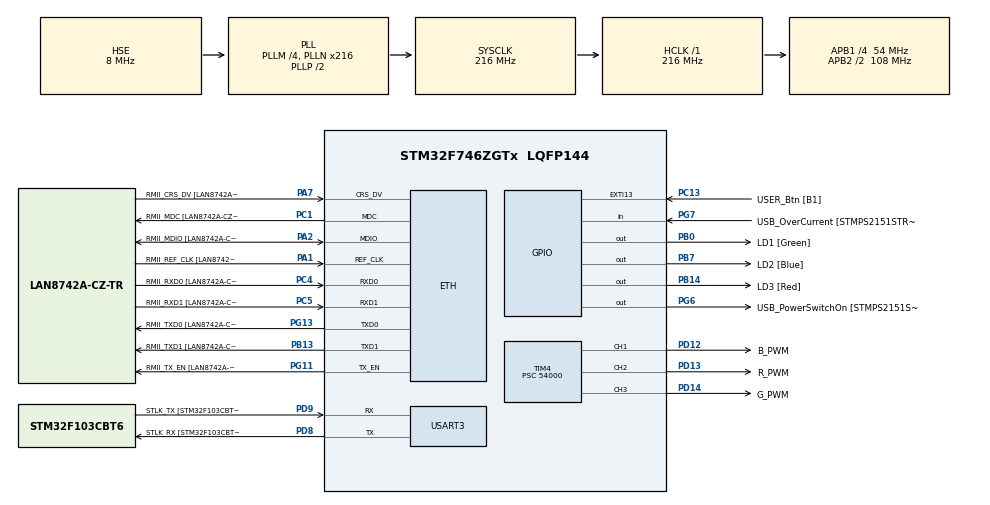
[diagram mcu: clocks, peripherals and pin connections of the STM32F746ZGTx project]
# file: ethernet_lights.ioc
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ETH.MediaInterface=ETH_MEDIA_INTERFACE_RMII
ETH.PHY_Name=LAN8742A_PHY_ADDRESS
ETH.PHY_Value=0
ETH.PhyAddress=0
LWIP.GATEWAY_ADDRESS=192.168.001.001
LWIP.IP_ADDRESS=192.168.001.200
LWIP.LWIP_DHCP=0
LWIP.NETMASK_ADDRESS=255.255.255.000
LWIP.Version=v2.0.3_Cube
Mcu.Family=STM32F7
Mcu.Name=STM32F746ZGTx
Mcu.Package=LQFP144
NVIC.ETH_IRQn=true\:0\:0\:false\:false\:true\:true\:true
NVIC.PriorityGroup=NVIC_PRIORITYGROUP_4
NVIC.TIM3_IRQn=true\:0\:0\:false\:false\:true\:true\:true
NVIC.TIM4_IRQn=true\:0\:0\:false\:false\:true\:true\:true
PA1.GPIO_Label=RMII_REF_CLK [LAN8742A-CZ-TR_REFCLK0]
PA1.Mode=RMII
PA1.Signal=ETH_REF_CLK
PA10.GPIO_Label=USB_ID
PA10.Signal=USB_OTG_FS_ID
PA11.GPIO_Label=USB_DM
PA11.Signal=USB_OTG_FS_DM
PA12.GPIO_Label=USB_DP
PA12.Signal=USB_OTG_FS_DP
PA13.GPIO_Label=TMS
PA13.Mode=Serial_Wire
PA13.Signal=SYS_JTMS-SWDIO
PA14.GPIO_Label=TCK
PA14.Mode=Serial_Wire
PA14.Signal=SYS_JTCK-SWCLK
PA2.GPIO_Label=RMII_MDIO [LAN8742A-CZ-TR_MDIO]
PA2.Mode=RMII
PA2.Signal=ETH_MDIO
PA7.GPIO_Label=RMII_CRS_DV [LAN8742A-CZ-TR_CRS_DV]
PA7.Mode=RMII
PA7.Signal=ETH_CRS_DV
PA8.GPIO_Label=USB_SOF [TP1]
PA8.Signal=USB_OTG_FS_SOF
PA9.GPIO_Label=USB_VBUS
PA9.Signal=USB_OTG_FS_VBUS
PB0.GPIO_Label=LD1 [Green]
PB0.Signal=GPIO_Output
PB13.GPIO_Label=RMII_TXD1 [LAN8742A-CZ-TR_TXD1]
PB13.Mode=RMII
PB13.Signal=ETH_TXD1
PB14.GPIO_Label=LD3 [Red]
PB14.Signal=GPIO_Output
PB3.GPIO_Label=SW0
PB3.Signal=SYS_JTDO-SWO
PB7.GPIO_Label=LD2 [Blue]
PB7.Signal=GPIO_Output
PC1.GPIO_Label=RMII_MDC [LAN8742A-CZ-TR_MDC]
PC1.Mode=RMII
PC1.Signal=ETH_MDC
PC13.GPIO_Label=USER_Btn [B1]
PC13.Signal=GPXTI13
PC14/OSC32_IN.Mode=LSE-External-Oscillator
PC14/OSC32_IN.Signal=RCC_OSC32_IN
PC15/OSC32_OUT.Mode=LSE-External-Oscillator
PC15/OSC32_OUT.Signal=RCC_OSC32_OUT
PC4.GPIO_Label=RMII_RXD0 [LAN8742A-CZ-TR_RXD0]
PC4.Mode=RMII
PC4.Signal=ETH_RXD0
PC5.GPIO_Label=RMII_RXD1 [LAN8742A-CZ-TR_RXD1]
PC5.Mode=RMII
PC5.Signal=ETH_RXD1
PD12.GPIO_Label=B_PWM
PD12.Signal=S_TIM4_CH1
PD13.GPIO_Label=R_PWM
PD13.Signal=S_TIM4_CH2
PD14.GPIO_Label=G_PWM
PD14.Signal=S_TIM4_CH3
PD8.GPIO_Label=STLK_RX [STM32F103CBT6_PA3]
PD8.Mode=Asynchronous
PD8.Signal=USART3_TX
PD9.GPIO_Label=STLK_TX [STM32F103CBT6_PA2]
PD9.Mode=Asynchronous
PD9.Signal=USART3_RX
PG11.GPIO_Label=RMII_TX_EN [LAN8742A-CZ-TR_TXEN]
PG11.Mode=RMII
PG11.Signal=ETH_TX_EN
PG13.GPIO_Label=RMII_TXD0 [LAN8742A-CZ-TR_TXD0]
PG13.Mode=RMII
PG13.Signal=ETH_TXD0
PG6.GPIO_Label=USB_PowerSwitchOn [STMPS2151STR_EN]
PG6.Signal=GPIO_Output
PG7.GPIO_Label=USB_OverCurrent [STMPS2151STR_FAULT]
PG7.Signal=GPIO_Input
PH0/OSC_IN.GPIO_Label=MCO [STM32F103CBT6_PA8]
PH0/OSC_IN.Mode=HSE-External-Clock-Source
PH0/OSC_IN.Signal=RCC_OSC_IN
PH1/OSC_OUT.Mode=HSE-External-Clock-Source
PH1/OSC_OUT.Signal=RCC_OSC_OUT
ProjectManager.HeapSize=0x200
ProjectManager.StackSize=0x400
ProjectManager.TargetToolchain=SW4STM32
RCC.48MHZClocksFreq_Value=24000000
RCC.AHBFreq_Value=216000000
RCC.APB1CLKDivider=RCC_HCLK_DIV4
RCC.APB1Freq_Value=54000000
RCC.APB1TimFreq_Value=108000000
RCC.APB2CLKDivider=RCC_HCLK_DIV2
RCC.APB2Freq_Value=108000000
RCC.APB2TimFreq_Value=216000000
RCC.CortexFreq_Value=216000000
RCC.HCLKFreq_Value=216000000
RCC.HSE_VALUE=8000000
RCC.HSI_VALUE=16000000
RCC.PLLM=4
RCC.PLLMUL=RCC_PLL_MUL9
RCC.PLLN=216
RCC.PLLQ=9
RCC.PLLSourceVirtual=RCC_PLLSOURCE_HSE
RCC.PRESCALERUSB=RCC_USBCLKSOURCE_PLL_DIV1_5
RCC.SYSCLKFreq_VALUE=216000000
RCC.SYSCLKSource=RCC_SYSCLKSOURCE_PLLCLK
RCC.SYSCLKSourceVirtual=RCC_SYSCLKSOURCE_PLLCLK
RCC.USBFreq_Value=48000000
RCC.VCOOutputFreq_Value=432000000
SH.S_TIM4_CH1.0=TIM4_CH1,PWM Generation1 CH1
SH.S_TIM4_CH2.0=TIM4_CH2,PWM Generation2 CH2
SH.S_TIM4_CH3.0=TIM4_CH3,PWM Generation3 CH3
TIM3.AutoReloadPreload=TIM_AUTORELOAD_PRELOAD_ENABLE
TIM3.ClockDivision=TIM_CLOCKDIVISION_DIV4
TIM3.Period=1
TIM3.Prescaler=54000
TIM4.AutoReloadPreload=TIM_AUTORELOAD_PRELOAD_ENABLE
TIM4.Channel-PWM\ Generation1\ CH1=TIM_CHANNEL_1
TIM4.Channel-PWM\ Generation2\ CH2=TIM_CHANNEL_2
TIM4.Channel-PWM\ Generation3\ CH3=TIM_CHANNEL_3
TIM4.ClockDivision=TIM_CLOCKDIVISION_DIV4
TIM4.Prescaler=54000
USART3.VirtualMode-Asynchronous=VM_ASYNC
VP_LWIP_VS_Enabled.Mode=Enabled
VP_TIM3_VS_ClockSourceINT.Mode=Internal
VP_TIM4_VS_ClockSourceINT.Mode=Internal
board=NUCLEO-F746ZG

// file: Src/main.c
/* USER CODE BEGIN Header */
/**
  ******************************************************************************
  * @file           : main.c
  * @brief          : Main program body
  ******************************************************************************
  * @attention
  *
  * <h2><center>&copy; Copyright (c) 2020 STMicroelectronics.
  * All rights reserved.</center></h2>
  *
  * This software component is licensed by ST under Ultimate Liberty license
  * SLA0044, the "License"; You may not use this file except in compliance with
  * the License. You may obtain a copy of the License at:
  *                             www.st.com/SLA0044
  *
  ******************************************************************************
  */
/* USER CODE END Header */

#include "main.h"
#include "lwip.h"

#include "udp_scratch.h"
#include "ethernetif.h"
#include "vban.h"

#include "arm_math.h"
#include "arm_const_structs.h"

/* USER CODE BEGIN PD */
int mscount = 0;
/* USER CODE END PD */

TIM_HandleTypeDef htim3;
TIM_HandleTypeDef htim4;

UART_HandleTypeDef huart3;

/* USER CODE BEGIN PV */
struct netif gnetif;
uint16_t * rxData;
//float32_t fft_dataset[FFT_Length_Tab*2];
//float32_t fft_mag_data[FFT_Length_Tab];
int compute_done = 1;
int watchdog = 1;
/* USER CODE END PV */

void SystemClock_Config(void);
static void MX_GPIO_Init(void);
static void MX_TIM3_Init(void);
static void MX_USART3_UART_Init(void);
static void MX_TIM4_Init(void);

/* USER CODE BEGIN 0 */
float32_t fft_dataset[FFT_Length_Tab*2];
/* USER CODE END 0 */

/**
  * @brief  The application entry point.
  * @retval int
  **/

int main(void)
{

  /* MCU Configuration--------------------------------------------------------*/

  /* Reset of all peripherals, Initializes the Flash interface and the Systick. */
  HAL_Init();

  /* Configure the system clock */
  SystemClock_Config();

  /* Initialize all configured peripherals */
  MX_GPIO_Init();
  MX_TIM3_Init();
  MX_USART3_UART_Init();
  MX_LWIP_Init();
  MX_TIM4_Init();

  /* USER CODE BEGIN 2 */
  err_t errout = ethernetif_init(&gnetif);
  //HAL_GPIO_WritePin(GPIOB,LD1_Pin,errout != ERR_OK);
//
//  HAL_Delay(500);
  HAL_TIM_Base_Start(&htim4);

  udp_scratch_connect();
  udp_receive_init();
  HAL_TIM_PWM_Start_IT(&htim4, TIM_CHANNEL_1);
  HAL_TIM_PWM_Start_IT(&htim4, TIM_CHANNEL_2);
  HAL_TIM_PWM_Start_IT(&htim4, TIM_CHANNEL_3);
  HAL_TIM_Base_Start_IT(&htim3);

  if (netif_is_up(&gnetif)) {
      //HAL_GPIO_WritePin(GPIOB, LD2_Pin, 1);
  }
  /* USER CODE END 2 */

  /* Infinite loop */
  while (1)
  {
//	  HAL_Delay(500);
//	  float32_t bull_var = -5.2;
	  //char * test_string = {"Fake_STRING"};

//	  gcvt(bull_var, 1,test_string);
	  //udp_char_send(test_string, 15);

  }
}

void SystemClock_Config(void)
{
  RCC_OscInitTypeDef RCC_OscInitStruct = {0};
  RCC_ClkInitTypeDef RCC_ClkInitStruct = {0};
  RCC_PeriphCLKInitTypeDef PeriphClkInitStruct = {0};

  /** Configure LSE Drive Capability
  */
  HAL_PWR_EnableBkUpAccess();
  /** Configure the main internal regulator output voltage
  */
  __HAL_RCC_PWR_CLK_ENABLE();
  __HAL_PWR_VOLTAGESCALING_CONFIG(PWR_REGULATOR_VOLTAGE_SCALE1);
  /** Initializes the CPU, AHB and APB busses clocks
  */
  RCC_OscInitStruct.OscillatorType = RCC_OSCILLATORTYPE_HSE;
  RCC_OscInitStruct.HSEState = RCC_HSE_BYPASS;
  RCC_OscInitStruct.PLL.PLLState = RCC_PLL_ON;
  RCC_OscInitStruct.PLL.PLLSource = RCC_PLLSOURCE_HSE;
  RCC_OscInitStruct.PLL.PLLM = 4;
  RCC_OscInitStruct.PLL.PLLN = 216;
  RCC_OscInitStruct.PLL.PLLP = RCC_PLLP_DIV2;
  RCC_OscInitStruct.PLL.PLLQ = 9;
  if (HAL_RCC_OscConfig(&RCC_OscInitStruct) != HAL_OK)
  {
    Error_Handler();
  }
  /** Activate the Over-Drive mode
  */
  if (HAL_PWREx_EnableOverDrive() != HAL_OK)
  {
    Error_Handler();
  }
  /** Initializes the CPU, AHB and APB busses clocks
  */
  RCC_ClkInitStruct.ClockType = RCC_CLOCKTYPE_HCLK|RCC_CLOCKTYPE_SYSCLK
                              |RCC_CLOCKTYPE_PCLK1|RCC_CLOCKTYPE_PCLK2;
  RCC_ClkInitStruct.SYSCLKSource = RCC_SYSCLKSOURCE_PLLCLK;
  RCC_ClkInitStruct.AHBCLKDivider = RCC_SYSCLK_DIV1;
  RCC_ClkInitStruct.APB1CLKDivider = RCC_HCLK_DIV4;
  RCC_ClkInitStruct.APB2CLKDivider = RCC_HCLK_DIV2;

  if (HAL_RCC_ClockConfig(&RCC_ClkInitStruct, FLASH_LATENCY_7) != HAL_OK)
  {
    Error_Handler();
  }
  PeriphClkInitStruct.PeriphClockSelection = RCC_PERIPHCLK_USART3;
  PeriphClkInitStruct.Usart3ClockSelection = RCC_USART3CLKSOURCE_PCLK1;
  if (HAL_RCCEx_PeriphCLKConfig(&PeriphClkInitStruct) != HAL_OK)
  {
    Error_Handler();
  }
}

static void MX_TIM3_Init(void)
{

  TIM_ClockConfigTypeDef sClockSourceConfig = {0};
  TIM_MasterConfigTypeDef sMasterConfig = {0};

  htim3.Instance = TIM3;
  htim3.Init.Prescaler = 54000;
  htim3.Init.CounterMode = TIM_COUNTERMODE_UP;
  htim3.Init.Period = 1;
  htim3.Init.ClockDivision = TIM_CLOCKDIVISION_DIV4;
  htim3.Init.AutoReloadPreload = TIM_AUTORELOAD_PRELOAD_ENABLE;
  if (HAL_TIM_Base_Init(&htim3) != HAL_OK)
  {
    Error_Handler();
  }
  sClockSourceConfig.ClockSource = TIM_CLOCKSOURCE_INTERNAL;
  if (HAL_TIM_ConfigClockSource(&htim3, &sClockSourceConfig) != HAL_OK)
  {
    Error_Handler();
  }
  sMasterConfig.MasterOutputTrigger = TIM_TRGO_RESET;
  sMasterConfig.MasterSlaveMode = TIM_MASTERSLAVEMODE_DISABLE;
  if (HAL_TIMEx_MasterConfigSynchronization(&htim3, &sMasterConfig) != HAL_OK)
  {
    Error_Handler();
  }

}

static void MX_TIM4_Init(void)
{

  TIM_ClockConfigTypeDef sClockSourceConfig = {0};
  TIM_MasterConfigTypeDef sMasterConfig = {0};
  TIM_OC_InitTypeDef sConfigOC = {0};

  htim4.Instance = TIM4;
  htim4.Init.Prescaler = 5400;
  htim4.Init.CounterMode = TIM_COUNTERMODE_UP;
  htim4.Init.Period = 100;
  htim4.Init.ClockDivision = TIM_CLOCKDIVISION_DIV1;
  htim4.Init.AutoReloadPreload = TIM_AUTORELOAD_PRELOAD_ENABLE;
  if (HAL_TIM_Base_Init(&htim4) != HAL_OK)
  {
    Error_Handler();
  }
  sClockSourceConfig.ClockSource = TIM_CLOCKSOURCE_INTERNAL;
  if (HAL_TIM_ConfigClockSource(&htim4, &sClockSourceConfig) != HAL_OK)
  {
    Error_Handler();
  }
  if (HAL_TIM_PWM_Init(&htim4) != HAL_OK)
  {
    Error_Handler();
  }
  sMasterConfig.MasterOutputTrigger = TIM_TRGO_RESET;
  sMasterConfig.MasterSlaveMode = TIM_MASTERSLAVEMODE_DISABLE;
  if (HAL_TIMEx_MasterConfigSynchronization(&htim4, &sMasterConfig) != HAL_OK)
  {
    Error_Handler();
  }
  sConfigOC.OCMode = TIM_OCMODE_PWM1;
  sConfigOC.Pulse = 0;
  if(DRIVER_PRESENT){
	  sConfigOC.OCPolarity = TIM_OCPOLARITY_LOW;
  }
  else sConfigOC.OCPolarity = TIM_OCPOLARITY_HIGH;
  sConfigOC.OCFastMode = TIM_OCFAST_DISABLE;
  if (HAL_TIM_PWM_ConfigChannel(&htim4, &sConfigOC, TIM_CHANNEL_1) != HAL_OK)
  {
    Error_Handler();
  }
  if (HAL_TIM_PWM_ConfigChannel(&htim4, &sConfigOC, TIM_CHANNEL_2) != HAL_OK)
  {
    Error_Handler();
  }
  if (HAL_TIM_PWM_ConfigChannel(&htim4, &sConfigOC, TIM_CHANNEL_3) != HAL_OK)
  {
    Error_Handler();
  }
  HAL_TIM_MspPostInit(&htim4);

}

static void MX_USART3_UART_Init(void)
{

  huart3.Instance = USART3;
  huart3.Init.BaudRate = 115200;
  huart3.Init.WordLength = UART_WORDLENGTH_8B;
  huart3.Init.StopBits = UART_STOPBITS_1;
  huart3.Init.Parity = UART_PARITY_NONE;
  huart3.Init.Mode = UART_MODE_TX_RX;
  huart3.Init.HwFlowCtl = UART_HWCONTROL_NONE;
  huart3.Init.OverSampling = UART_OVERSAMPLING_16;
  huart3.Init.OneBitSampling = UART_ONE_BIT_SAMPLE_DISABLE;
  huart3.AdvancedInit.AdvFeatureInit = UART_ADVFEATURE_NO_INIT;
  if (HAL_UART_Init(&huart3) != HAL_OK)
  {
    Error_Handler();
  }

}

static void MX_GPIO_Init(void)
{
  GPIO_InitTypeDef GPIO_InitStruct = {0};

  /* GPIO Ports Clock Enable */
  __HAL_RCC_GPIOC_CLK_ENABLE();
  __HAL_RCC_GPIOH_CLK_ENABLE();
  __HAL_RCC_GPIOA_CLK_ENABLE();
  __HAL_RCC_GPIOB_CLK_ENABLE();
  __HAL_RCC_GPIOD_CLK_ENABLE();
  __HAL_RCC_GPIOG_CLK_ENABLE();

  /*Configure GPIO pin Output Level */
  HAL_GPIO_WritePin(GPIOB, LD1_Pin|LD3_Pin|LD2_Pin, GPIO_PIN_RESET);

  /*Configure GPIO pin Output Level */
  HAL_GPIO_WritePin(USB_PowerSwitchOn_GPIO_Port, USB_PowerSwitchOn_Pin, GPIO_PIN_RESET);

  /*Configure GPIO pin : USER_Btn_Pin */
  GPIO_InitStruct.Pin = USER_Btn_Pin;
  GPIO_InitStruct.Mode = GPIO_MODE_IT_RISING;
  GPIO_InitStruct.Pull = GPIO_NOPULL;
  HAL_GPIO_Init(USER_Btn_GPIO_Port, &GPIO_InitStruct);

  /*Configure GPIO pins : LD1_Pin LD3_Pin LD2_Pin */
  GPIO_InitStruct.Pin = LD1_Pin|LD3_Pin|LD2_Pin;
  GPIO_InitStruct.Mode = GPIO_MODE_OUTPUT_PP;
  GPIO_InitStruct.Pull = GPIO_NOPULL;
  GPIO_InitStruct.Speed = GPIO_SPEED_FREQ_LOW;
  HAL_GPIO_Init(GPIOB, &GPIO_InitStruct);

  /*Configure GPIO pin : USB_PowerSwitchOn_Pin */
  GPIO_InitStruct.Pin = USB_PowerSwitchOn_Pin;
  GPIO_InitStruct.Mode = GPIO_MODE_OUTPUT_PP;
  GPIO_InitStruct.Pull = GPIO_NOPULL;
  GPIO_InitStruct.Speed = GPIO_SPEED_FREQ_LOW;
  HAL_GPIO_Init(USB_PowerSwitchOn_GPIO_Port, &GPIO_InitStruct);

  /*Configure GPIO pin : USB_OverCurrent_Pin */
  GPIO_InitStruct.Pin = USB_OverCurrent_Pin;
  GPIO_InitStruct.Mode = GPIO_MODE_INPUT;
  GPIO_InitStruct.Pull = GPIO_NOPULL;
  HAL_GPIO_Init(USB_OverCurrent_GPIO_Port, &GPIO_InitStruct);

  /*Configure GPIO pins : USB_SOF_Pin USB_ID_Pin USB_DM_Pin USB_DP_Pin */
  GPIO_InitStruct.Pin = USB_SOF_Pin|USB_ID_Pin|USB_DM_Pin|USB_DP_Pin;
  GPIO_InitStruct.Mode = GPIO_MODE_AF_PP;
  GPIO_InitStruct.Pull = GPIO_NOPULL;
  GPIO_InitStruct.Speed = GPIO_SPEED_FREQ_VERY_HIGH;
  GPIO_InitStruct.Alternate = GPIO_AF10_OTG_FS;
  HAL_GPIO_Init(GPIOA, &GPIO_InitStruct);

  /*Configure GPIO pin : USB_VBUS_Pin */
  GPIO_InitStruct.Pin = USB_VBUS_Pin;
  GPIO_InitStruct.Mode = GPIO_MODE_INPUT;
  GPIO_InitStruct.Pull = GPIO_NOPULL;
  HAL_GPIO_Init(USB_VBUS_GPIO_Port, &GPIO_InitStruct);

}

/* USER CODE BEGIN 4 */
void HAL_TIM_PeriodElapsedCallback(TIM_HandleTypeDef *htim)
{
    //HAL_GPIO_TogglePin(GPIOB, LD2_Pin);
    mscount += 1;
    ethernetif_set_link(&gnetif);
    ethernetif_input(&gnetif);
    //udp_scratch_connect();

    if(mscount == 1000){
            mscount=0;
            HAL_GPIO_TogglePin(GPIOB, LD2_Pin);
            if(watchdog=1){
          	  __HAL_TIM_SET_COMPARE(&htim4,TIM_CHANNEL_1, 0);
          	  __HAL_TIM_SET_COMPARE(&htim4,TIM_CHANNEL_3, 0);
          	  __HAL_TIM_SET_COMPARE(&htim4,TIM_CHANNEL_2, 0);
            }
            watchdog=1;
    }
}
/* USER CODE END 4 */

void Error_Handler(void)
{
}

/************************ (C) COPYRIGHT STMicroelectronics *****END OF FILE****/
